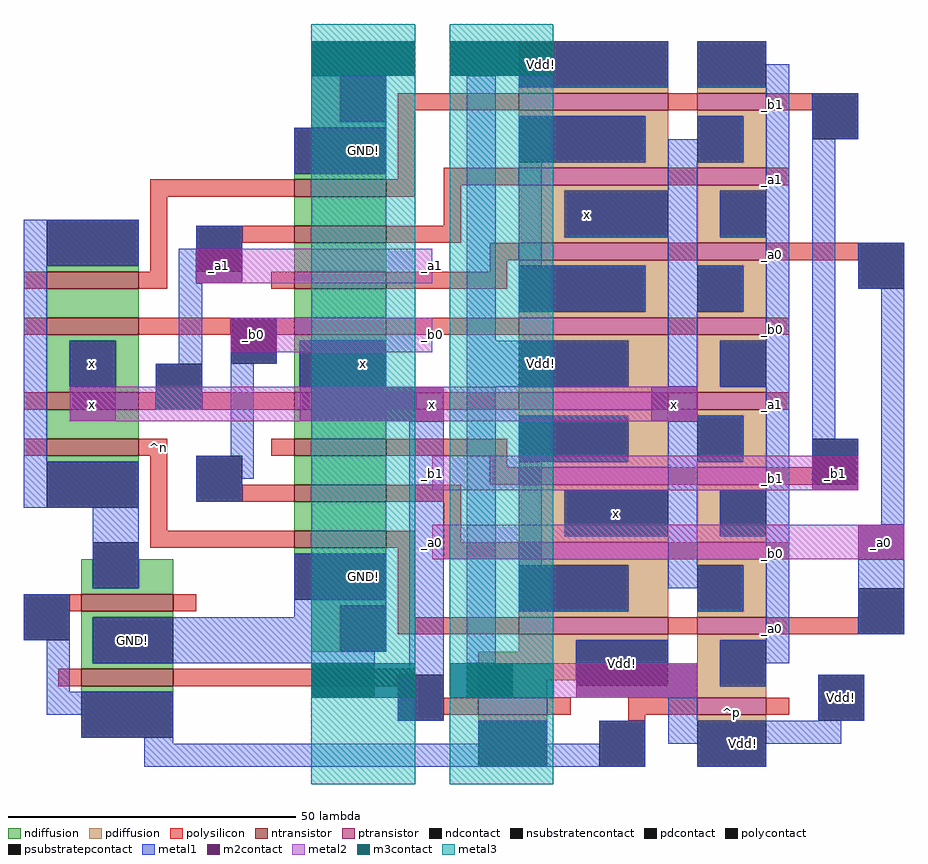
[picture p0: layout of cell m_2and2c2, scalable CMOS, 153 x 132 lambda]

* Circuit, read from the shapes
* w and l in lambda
.subckt m_2and2c2 GND! Vdd! _a0 _a1 _b0 _b1 x
M1 n1 _a0 n2 GND! nfet w=16 l=3
M2 x _a1 n1 GND! nfet w=16 l=3
M3 n3 _b0 x GND! nfet w=16 l=3
M4 n2 _b1 n3 GND! nfet w=16 l=3
M5 GND! x n4 GND! nfet w=16 l=3
M6 n2 n4 GND! GND! nfet w=16 l=3
M7 n5 _a0 GND! GND! nfet w=16 l=3
M8 n6 _b0 n5 GND! nfet w=16 l=3
M9 n7 _b1 n6 GND! nfet w=16 l=3
M10 x _a1 n7 GND! nfet w=16 l=3
M11 n8 _b0 x GND! nfet w=16 l=3
M12 n9 _a0 n8 GND! nfet w=16 l=3
M13 n10 _a1 n9 GND! nfet w=16 l=3
M14 GND! _b1 n10 GND! nfet w=16 l=3
M15 Vdd! x n4 Vdd! pfet w=12 l=3
M16 n11 _a0 Vdd! Vdd! pfet w=26 l=3
M17 x _b0 n11 Vdd! pfet w=26 l=3
M18 n11 _b1 x Vdd! pfet w=26 l=3
M19 Vdd! _a1 n11 Vdd! pfet w=26 l=3
M20 n12 _b0 Vdd! Vdd! pfet w=26 l=3
M21 x _a0 n12 Vdd! pfet w=26 l=3
M22 n12 _a1 x Vdd! pfet w=26 l=3
M23 Vdd! _b1 n12 Vdd! pfet w=26 l=3
M24 n13 n4 Vdd! Vdd! pfet w=12 l=3
M25 x _a0 n13 Vdd! pfet w=12 l=3 m=2
M26 n13 _b0 x Vdd! pfet w=12 l=3 m=2
M27 x _b1 n13 Vdd! pfet w=12 l=3 m=2
M28 n13 _a1 x Vdd! pfet w=12 l=3 m=2
.ends

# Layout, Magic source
magic
tech scmos
<< ndiffusion >>
rect -21 122 -16 130
rect -21 121 -8 122
rect -24 112 -8 113
rect -67 96 -51 97
rect -24 104 -8 109
rect -24 96 -8 101
rect -67 88 -51 93
rect -24 88 -8 93
rect -67 84 -51 85
rect -67 76 -63 84
rect -55 76 -51 84
rect -24 84 -8 85
rect -67 75 -51 76
rect -24 76 -23 84
rect -24 75 -8 76
rect -67 67 -51 72
rect -24 67 -8 72
rect -67 63 -51 64
rect -24 59 -8 64
rect -24 51 -8 56
rect -61 41 -59 46
rect -24 47 -8 48
rect -51 41 -45 46
rect -61 40 -45 41
rect -21 38 -8 39
rect -61 36 -45 37
rect -61 28 -59 36
rect -21 30 -16 38
rect -61 27 -45 28
rect -61 23 -45 24
<< pdiffusion >>
rect 15 127 41 128
rect 46 127 58 128
rect 15 123 41 124
rect 37 115 41 123
rect 15 114 41 115
rect 46 123 58 124
rect 54 115 58 123
rect 46 114 58 115
rect 15 110 41 111
rect 15 102 23 110
rect 15 101 41 102
rect 46 110 58 111
rect 46 102 50 110
rect 46 101 58 102
rect 15 97 41 98
rect 37 89 41 97
rect 15 88 41 89
rect 46 97 58 98
rect 54 89 58 97
rect 46 88 58 89
rect 15 84 41 85
rect 34 76 41 84
rect 15 75 41 76
rect 46 84 58 85
rect 46 76 50 84
rect 46 75 58 76
rect 15 71 41 72
rect 34 63 41 71
rect 15 62 41 63
rect 46 71 58 72
rect 54 63 58 71
rect 46 62 58 63
rect 15 58 41 59
rect 15 50 23 58
rect 15 49 41 50
rect 46 58 58 59
rect 46 50 50 58
rect 46 49 58 50
rect 15 45 41 46
rect 34 37 41 45
rect 15 36 41 37
rect 46 45 58 46
rect 54 37 58 45
rect 46 36 58 37
rect 15 32 41 33
rect 15 30 25 32
rect 8 25 25 30
rect 8 22 20 25
rect 46 32 58 33
rect 46 24 50 32
rect 46 22 58 24
rect 8 18 20 19
rect 46 18 58 19
<< ntransistor >>
rect -24 109 -8 112
rect -24 101 -8 104
rect -67 93 -51 96
rect -24 93 -8 96
rect -67 85 -51 88
rect -24 85 -8 88
rect -67 72 -51 75
rect -24 72 -8 75
rect -67 64 -51 67
rect -24 64 -8 67
rect -24 56 -8 59
rect -24 48 -8 51
rect -61 37 -45 40
rect -61 24 -45 27
<< ptransistor >>
rect 15 124 41 127
rect 46 124 58 127
rect 15 111 41 114
rect 46 111 58 114
rect 15 98 41 101
rect 46 98 58 101
rect 15 85 41 88
rect 46 85 58 88
rect 15 72 41 75
rect 46 72 58 75
rect 15 59 41 62
rect 46 59 58 62
rect 15 46 41 49
rect 46 46 58 49
rect 15 33 41 36
rect 46 33 58 36
rect 8 19 20 22
rect 46 19 58 22
<< polysilicon >>
rect -6 124 15 127
rect 41 124 46 127
rect 58 124 66 127
rect -6 112 -3 124
rect -49 109 -24 112
rect -8 109 -3 112
rect 2 111 15 114
rect 41 111 46 114
rect 58 111 62 114
rect -49 96 -46 109
rect 2 104 5 111
rect -33 101 -24 104
rect -8 101 5 104
rect 10 98 15 101
rect 41 98 46 101
rect 58 98 74 101
rect 10 96 13 98
rect -71 93 -67 96
rect -51 93 -46 96
rect -28 93 -24 96
rect -8 93 13 96
rect -71 85 -67 88
rect -51 85 -35 88
rect -27 85 -24 88
rect -8 85 15 88
rect 41 85 46 88
rect 58 85 62 88
rect -71 72 -67 75
rect -51 72 -48 75
rect -40 72 -24 75
rect -8 72 15 75
rect 41 72 46 75
rect 58 72 62 75
rect -71 64 -67 67
rect -51 64 -46 67
rect -28 64 -24 67
rect -8 64 13 67
rect -49 51 -46 64
rect 10 62 13 64
rect 10 59 15 62
rect 41 59 46 62
rect 58 59 66 62
rect -33 56 -24 59
rect -8 56 5 59
rect -49 48 -24 51
rect -8 48 -3 51
rect -63 37 -61 40
rect -45 37 -41 40
rect -6 36 -3 48
rect 2 49 5 56
rect 2 46 15 49
rect 41 46 46 49
rect 58 46 62 49
rect -6 33 15 36
rect 41 33 46 36
rect 58 33 74 36
rect -65 24 -61 27
rect -45 26 -3 27
rect -45 24 -6 26
rect 2 19 8 22
rect 20 19 24 22
rect 34 19 46 22
rect 58 19 62 22
rect 34 18 37 19
<< ndcontact >>
rect -24 113 -8 121
rect -67 97 -51 105
rect -63 76 -55 84
rect -23 76 -8 84
rect -67 55 -51 63
rect -59 41 -51 49
rect -24 39 -8 47
rect -59 28 -45 36
rect -61 15 -45 23
<< pdcontact >>
rect 15 128 41 136
rect 46 128 58 136
rect 15 115 37 123
rect 46 115 54 123
rect 23 102 41 110
rect 50 102 58 110
rect 15 89 37 97
rect 46 89 54 97
rect 15 76 34 84
rect 50 76 58 84
rect 15 63 34 71
rect 46 63 54 71
rect 23 50 41 58
rect 50 50 58 58
rect 15 37 34 45
rect 46 37 54 45
rect 25 24 41 32
rect 50 24 58 32
rect 8 10 20 18
rect 46 10 58 18
<< psubstratepcontact >>
rect -16 122 -8 130
rect -16 30 -8 38
<< nsubstratencontact >>
rect 67 18 75 26
<< polycontact >>
rect 66 119 74 127
rect -41 96 -33 104
rect 74 93 82 101
rect -35 80 -27 88
rect -48 72 -40 80
rect -41 56 -33 64
rect 66 59 74 67
rect -71 32 -63 40
rect 74 33 82 41
rect -6 18 2 26
rect 29 10 37 18
<< metal1 >>
rect 21 130 41 136
rect -21 121 -8 130
rect -24 113 -8 121
rect -71 97 -51 105
rect -41 100 -33 104
rect -71 63 -67 97
rect -44 94 -41 100
rect -63 76 -55 84
rect -44 80 -40 94
rect -48 72 -40 80
rect 6 84 11 130
rect 15 128 41 130
rect 46 132 58 136
rect 46 128 62 132
rect 15 115 37 123
rect 46 119 54 123
rect 41 115 54 119
rect 15 97 19 115
rect 41 110 46 115
rect 58 110 62 128
rect 23 102 46 110
rect 50 102 62 110
rect 41 97 46 102
rect 15 89 37 97
rect 41 89 54 97
rect -35 80 -27 82
rect -35 64 -31 80
rect -23 76 -8 84
rect 6 76 34 84
rect 41 76 46 89
rect 58 84 62 102
rect 50 76 62 84
rect -71 55 -51 63
rect -41 60 -31 64
rect -41 56 -33 60
rect -59 41 -51 55
rect -71 32 -63 40
rect -24 36 -8 47
rect -67 23 -63 32
rect -59 30 -8 36
rect -59 28 -10 30
rect -67 19 -45 23
rect -4 26 2 70
rect -61 15 -45 19
rect -6 18 2 26
rect 6 28 11 76
rect 15 63 34 71
rect 46 70 54 71
rect 41 63 54 70
rect 15 45 19 63
rect 41 58 46 63
rect 58 58 62 76
rect 66 119 74 127
rect 66 67 70 119
rect 74 93 82 101
rect 66 64 74 67
rect 23 50 46 58
rect 50 50 62 58
rect 78 52 82 93
rect 41 45 46 50
rect 15 37 34 45
rect 41 41 54 45
rect 46 37 54 41
rect 58 32 62 50
rect 74 33 82 46
rect 25 28 41 32
rect 50 28 62 32
rect 50 24 58 28
rect 41 18 46 22
rect 67 18 75 26
rect -50 14 -45 15
rect 8 14 20 18
rect 29 14 37 18
rect 41 14 71 18
rect -50 10 37 14
rect 46 10 58 14
<< m2contact >>
rect -21 130 -3 136
rect 3 130 21 136
rect -41 94 -33 100
rect -63 70 -55 76
rect -35 82 -27 88
rect -23 70 2 76
rect -21 22 -10 28
rect 38 70 46 76
rect 66 58 74 64
rect 74 46 82 52
rect 6 22 14 28
rect 25 22 46 28
<< metal2 >>
rect -41 94 0 100
rect -35 82 0 88
rect -63 70 46 76
rect 0 58 74 64
rect 0 46 82 52
rect 21 22 46 28
<< m3contact >>
rect -21 130 -3 136
rect 3 130 21 136
rect -21 22 -3 28
rect 3 22 21 28
<< metal3 >>
rect -21 7 -3 139
rect 3 7 21 139
<< labels >>
rlabel metal1 27 106 27 106 1 x
rlabel metal1 33 28 33 28 1 Vdd!
rlabel polysilicon 59 125 59 125 1 _b1
rlabel polysilicon 59 112 59 112 1 _a1
rlabel polysilicon 59 99 59 99 1 _a0
rlabel polysilicon 59 86 59 86 1 _b0
rlabel polysilicon 59 73 59 73 1 _a1
rlabel polysilicon 59 60 59 60 1 _b1
rlabel polysilicon 59 47 59 47 1 _b0
rlabel polysilicon 59 34 59 34 1 _a0
rlabel metal1 -12 80 -12 80 1 x
rlabel metal1 -12 117 -12 117 5 GND!
rlabel metal1 -12 43 -12 43 1 GND!
rlabel metal1 19 80 19 80 1 Vdd!
rlabel m2contact 19 132 19 132 5 Vdd!
rlabel metal1 54 14 54 14 1 Vdd!
rlabel metal1 71 22 71 22 7 Vdd!
rlabel metal1 32 54 32 54 1 x
rlabel metal1 -52 32 -52 32 1 GND!
rlabel metal1 -59 80 -59 80 1 x
rlabel metal2 0 58 0 64 3 _b1
rlabel metal2 0 73 0 73 1 x
rlabel metal2 0 82 0 88 7 _b0
rlabel metal2 0 94 0 100 7 _a1
rlabel metal2 0 46 0 52 3 _a0
rlabel space -72 9 -23 122 7 ^n
rlabel space 34 31 83 137 3 ^p
rlabel space 28 9 76 30 3 ^p
rlabel metal2 -37 97 -37 97 1 _a1
rlabel metal2 -31 85 -31 85 1 _b0
rlabel metal2 -59 73 -59 73 1 x
rlabel metal2 42 73 42 73 1 x
rlabel metal2 70 61 70 61 1 _b1
rlabel metal2 78 49 78 49 7 _a0
<< end >>
